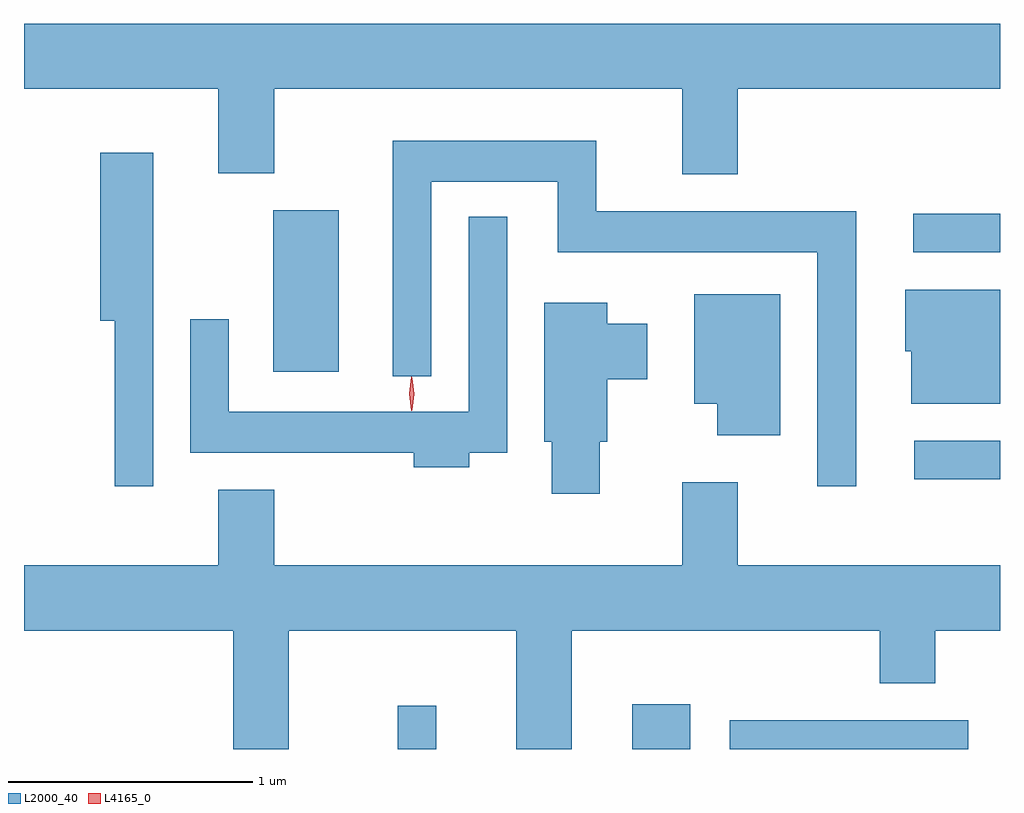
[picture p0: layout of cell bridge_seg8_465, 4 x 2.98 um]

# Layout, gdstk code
import gdstk
lib = gdstk.Library(unit=1e-6, precision=1e-09)
def R(c, l, rs):  # rectangles x0, y0, x1, y1
    for r in rs: c.add(gdstk.rectangle(r[:2], r[2:], *l))
def P(c, l, *ps):  # polygons
    for p in ps: c.add(gdstk.Polygon(p, *l))
L2000_40 = (2000, 40)
L4165_0 = (4165, 0)

bridge_seg8_465 = lib.new_cell('bridge_seg8_465')
R(bridge_seg8_465, L2000_40, [(522.876,1929.169,523.034,1929.348), (523.836,1929.169,524.074,1929.354), (524.236,1929.169,525.214,1929.289), (524.993,1930.276,525.344,1930.434), (522.366,1930.716,522.634,1931.379), (524.988,1931.206,525.344,1931.364)])
P(bridge_seg8_465, L2000_40, [(524.269,1931.876),(525.344,1931.876),(525.344,1932.144),(521.344,1932.144),(521.344,1931.876),(522.141,1931.876),(522.141,1931.531),(522.369,1931.531),(522.369,1931.876),(524.041,1931.876),(524.041,1931.526),(524.269,1931.526)],
  [(524.754,1931.374),(523.689,1931.374),(523.689,1931.664),(522.856,1931.664),(522.856,1930.698),(523.014,1930.698),(523.014,1931.496),(523.531,1931.496),(523.531,1931.206),(524.596,1931.206),(524.596,1930.248),(524.754,1930.248)],
  [(521.874,1931.614),(521.656,1931.614),(521.656,1930.926),(521.716,1930.926),(521.716,1930.248),(521.874,1930.248)],
  [(523.169,1930.386),(523.324,1930.386),(523.324,1931.353),(523.166,1931.353),(523.166,1930.554),(522.184,1930.554),(522.184,1930.933),(522.026,1930.933),(522.026,1930.386),(522.941,1930.386),(522.941,1930.326),(523.169,1930.326)],
  [(525.344,1931.054),(524.956,1931.054),(524.956,1930.801),(524.981,1930.801),(524.981,1930.586),(525.344,1930.586)],
  [(524.444,1931.034),(524.091,1931.034),(524.091,1930.586),(524.186,1930.586),(524.186,1930.456),(524.444,1930.456)],
  [(523.704,1930.431),(523.734,1930.431),(523.734,1930.686),(523.899,1930.686),(523.899,1930.914),(523.734,1930.914),(523.734,1930.999),(523.476,1930.999),(523.476,1930.431),(523.506,1930.431),(523.506,1930.216),(523.704,1930.216)],
  [(522.429,1929.656),(523.361,1929.656),(523.361,1929.169),(523.589,1929.169),(523.589,1929.656),(524.851,1929.656),(524.851,1929.441),(525.079,1929.441),(525.079,1929.656),(525.344,1929.656),(525.344,1929.924),(524.269,1929.924),(524.269,1930.264),(524.041,1930.264),(524.041,1929.924),(522.369,1929.924),(522.369,1930.234),(522.141,1930.234),(522.141,1929.924),(521.344,1929.924),(521.344,1929.656),(522.201,1929.656),(522.201,1929.169),(522.429,1929.169)])
P(bridge_seg8_465, L4165_0, [(522.933,1930.557),(522.932,1930.558),(522.923,1930.627),(522.932,1930.696),(522.933,1930.696),(522.933,1930.696),(522.943,1930.627),(522.933,1930.558)],
  [(522.934,1930.559),(522.934,1930.56),(522.924,1930.626),(522.934,1930.692),(522.934,1930.693),(522.935,1930.692),(522.944,1930.626),(522.935,1930.56)])

lib.write_gds('bridge_seg8_465.gds')
